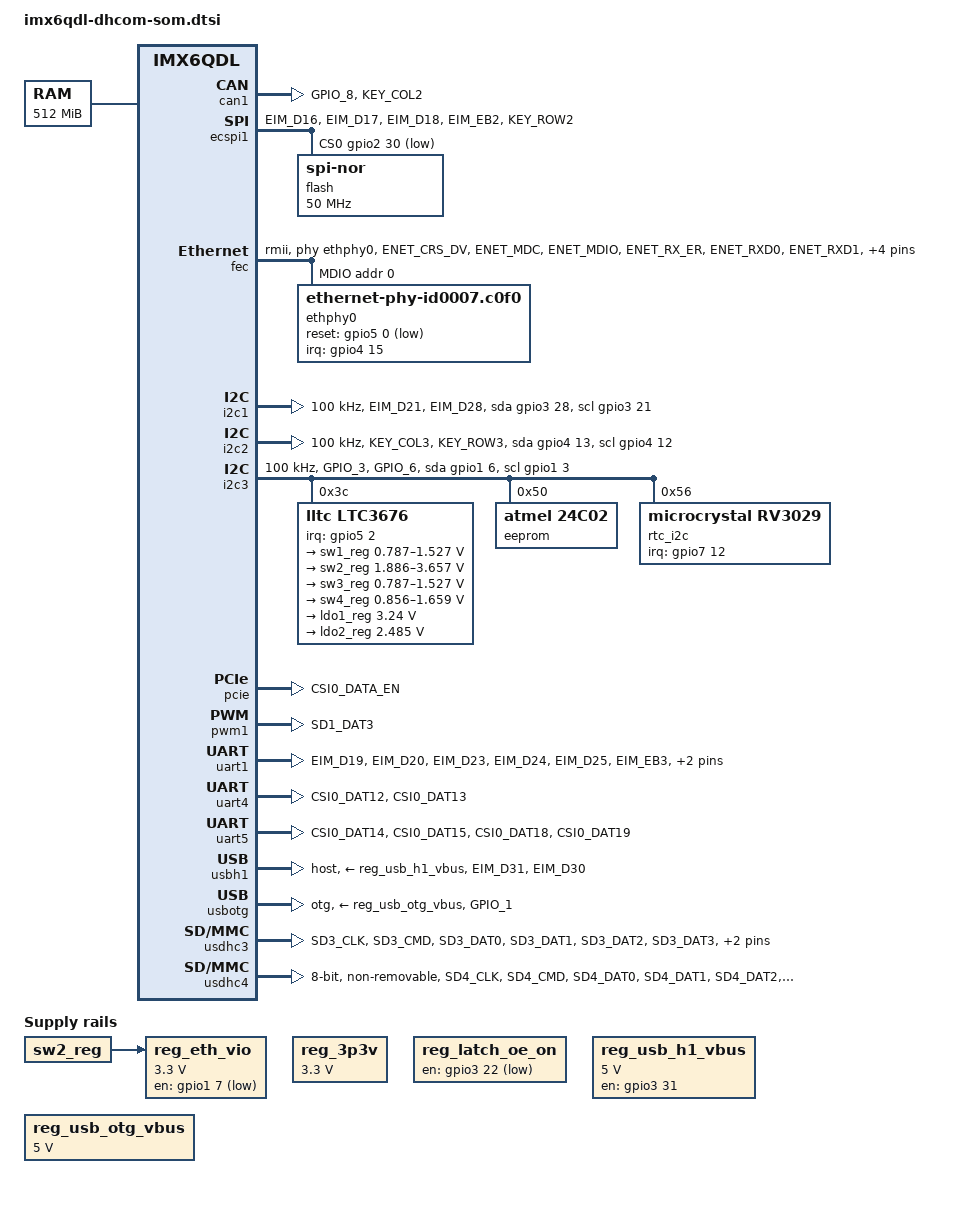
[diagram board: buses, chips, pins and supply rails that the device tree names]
// SPDX-License-Identifier: GPL-2.0+
/*
 * Copyright (C) 2015-2021 DH electronics GmbH
 * Copyright (C) 2018 Marek Vasut <marex@denx.de>
 */

#include <dt-bindings/pwm/pwm.h>
#include <dt-bindings/gpio/gpio.h>
#include <dt-bindings/clock/imx6qdl-clock.h>
#include <dt-bindings/input/input.h>

/ {
	aliases {
		i2c0 = &i2c2;
		i2c1 = &i2c1;
		i2c2 = &i2c3;
		mmc0 = &usdhc2;
		mmc1 = &usdhc3;
		mmc2 = &usdhc4;
		mmc3 = &usdhc1;
		rtc0 = &rtc_i2c;
		rtc1 = &snvs_rtc;
		serial0 = &uart1;
		serial1 = &uart5;
		serial2 = &uart4;
		serial3 = &uart2;
		serial4 = &uart3;
	};

	memory@10000000 { /* Appropriate memory size will be filled by U-Boot */
		device_type = "memory";
		reg = <0x10000000 0x20000000>;
	};

	reg_3p3v: regulator-3P3V {
		compatible = "regulator-fixed";
		regulator-always-on;
		regulator-min-microvolt = <3300000>;
		regulator-max-microvolt = <3300000>;
		regulator-name = "3P3V";
	};

	reg_eth_vio: regulator-eth-vio {
		compatible = "regulator-fixed";
		gpio = <&gpio1 7 0>;
		pinctrl-0 = <&pinctrl_enet_vio>;
		pinctrl-names = "default";
		regulator-always-on;
		regulator-boot-on;
		regulator-min-microvolt = <3300000>;
		regulator-max-microvolt = <3300000>;
		regulator-name = "eth_vio";
		vin-supply = <&sw2_reg>;
	};

	/* OE pin of the latch is low active */
	reg_latch_oe_on: regulator-latch-oe-on {
		compatible = "regulator-fixed";
		gpio = <&gpio3 22 0>;
		regulator-always-on;
		regulator-name = "latch_oe_on";
	};

	reg_usb_h1_vbus: regulator-usb-h1-vbus {
		compatible = "regulator-fixed";
		enable-active-high;
		gpio = <&gpio3 31 0>;
		regulator-min-microvolt = <5000000>;
		regulator-max-microvolt = <5000000>;
		regulator-name = "usb_h1_vbus";
	};

	reg_usb_otg_vbus: regulator-usb-otg-vbus {
		compatible = "regulator-fixed";
		regulator-min-microvolt = <5000000>;
		regulator-max-microvolt = <5000000>;
		regulator-name = "usb_otg_vbus";
	};
};

&can1 {
	pinctrl-0 = <&pinctrl_flexcan1>;
	pinctrl-names = "default";
	status = "okay";
};

/*
 * Special SoM hardware required which uses the pins from micro SD card. The
 * pins SD3_DAT0 and SD3_DAT1 are muxed as can2 Tx and Rx. The signals for can2
 * Tx and Rx are routed to the DHCOM UART1 rts/cts pins. So to enable can2 on
 * the board device tree file, the micro SD card must be disabled and the uart1
 * rts/cts must be disabled or output on other DHCOM pins.
 */
&can2 {
	pinctrl-0 = <&pinctrl_flexcan2>;
	pinctrl-names = "default";
	status = "disabled";
};

&ecspi1 {
	cs-gpios = <&gpio2 30 GPIO_ACTIVE_LOW>, <&gpio4 11 GPIO_ACTIVE_LOW>;
	pinctrl-0 = <&pinctrl_ecspi1>;
	pinctrl-names = "default";
	status = "okay";

	flash@0 { /* S25FL116K */
		#address-cells = <1>;
		#size-cells = <1>;
		compatible = "jedec,spi-nor";
		m25p,fast-read;
		reg = <0>;
		spi-max-frequency = <50000000>;
	};
};

&ecspi2 {
	cs-gpios = <&gpio5 29 GPIO_ACTIVE_LOW>;
	pinctrl-0 = <&pinctrl_ecspi2>;
	pinctrl-names = "default";
	status = "disabled";
};

&fec {
	phy-mode = "rmii";
	phy-handle = <&ethphy0>;
	pinctrl-0 = <&pinctrl_enet_100M>;
	pinctrl-names = "default";
	status = "okay";

	mdio {
		#address-cells = <1>;
		#size-cells = <0>;

		ethphy0: ethernet-phy@0 { /* SMSC LAN8710Ai */
			compatible = "ethernet-phy-id0007.c0f0",
				     "ethernet-phy-ieee802.3-c22";
			interrupt-parent = <&gpio4>;
			interrupts = <15 IRQ_TYPE_LEVEL_LOW>;
			pinctrl-0 = <&pinctrl_ethphy0>;
			pinctrl-names = "default";
			reg = <0>;
			reset-assert-us = <500>;
			reset-deassert-us = <500>;
			reset-gpios = <&gpio5 0 GPIO_ACTIVE_LOW>;
			smsc,disable-energy-detect; /* Make plugin detection reliable */
		};
	};
};

&gpio1 {
	gpio-line-names =
		"", "", "DHCOM-A", "", "DHCOM-B", "DHCOM-C", "", "",
		"", "", "", "", "", "", "", "",
		"DHCOM-R", "DHCOM-S", "DHCOM-Q", "DHCOM-T", "DHCOM-U", "", "", "",
		"", "", "", "", "", "", "", "";
};

&gpio2 {
	gpio-line-names =
		"", "", "", "", "", "", "", "",
		"", "", "", "", "", "", "", "",
		"SOM-HW2", "", "", "SOM-HW0", "", "SOM-MEM1", "SOM-MEM0", "",
		"", "", "", "", "", "", "", "";
};

&gpio3 {
	gpio-line-names =
		"", "", "", "", "", "", "", "",
		"", "", "", "", "", "", "", "",
		"", "", "", "", "", "", "", "",
		"", "", "", "DHCOM-G", "", "", "", "";
};

&gpio4 {
	gpio-line-names =
		"", "", "", "", "", "DHCOM-E", "DHCOM-INT", "DHCOM-H",
		"DHCOM-I", "DHCOM-L", "", "", "", "", "", "",
		"", "", "", "", "DHCOM-F", "", "", "",
		"", "", "", "", "", "", "", "";
};

&gpio5 {
	gpio-line-names =
		"", "", "", "", "", "", "", "",
		"", "", "", "", "", "", "", "",
		"", "", "DHCOM-V", "DHCOM-W", "", "DHCOM-O", "", "",
		"", "", "", "", "", "", "", "";
};

&gpio6 {
	gpio-line-names =
		"", "", "", "DHCOM-D", "", "", "SOM-HW1", "",
		"", "", "", "", "", "", "DHCOM-J", "DHCOM-K",
		"", "", "", "", "", "", "", "",
		"", "", "", "", "", "", "", "";
};

&gpio7 {
	gpio-line-names =
		"DHCOM-M", "DHCOM-N", "", "", "", "", "", "",
		"", "", "", "", "", "DHCOM-P", "", "",
		"", "", "", "", "", "", "", "",
		"", "", "", "", "", "", "", "";
};

&i2c1 {
	/*
	 * Info: According to erratum ERR007805 clock frequency limit is 375000.
	 * The erratum for i.MX6S/DL is here [1] and for i.MX6Q/D is here [2].
	 * [1] https://www.nxp.com/docs/en/errata/IMX6SDLCE.pdf
	 * [2] https://www.nxp.com/docs/en/errata/IMX6DQCE.pdf
	 */
	clock-frequency = <100000>;
	pinctrl-0 = <&pinctrl_i2c1>;
	pinctrl-1 = <&pinctrl_i2c1_gpio>;
	pinctrl-names = "default", "gpio";
	scl-gpios = <&gpio3 21 (GPIO_ACTIVE_HIGH | GPIO_OPEN_DRAIN)>;
	sda-gpios = <&gpio3 28 (GPIO_ACTIVE_HIGH | GPIO_OPEN_DRAIN)>;
	status = "okay";
};

&i2c2 {
	/* Info: Clock frequency limit is 375000 (for details see i2c1) */
	clock-frequency = <100000>;
	pinctrl-0 = <&pinctrl_i2c2>;
	pinctrl-1 = <&pinctrl_i2c2_gpio>;
	pinctrl-names = "default", "gpio";
	scl-gpios = <&gpio4 12 (GPIO_ACTIVE_HIGH | GPIO_OPEN_DRAIN)>;
	sda-gpios = <&gpio4 13 (GPIO_ACTIVE_HIGH | GPIO_OPEN_DRAIN)>;
	status = "okay";
};

&i2c3 {
	/* Info: Clock frequency limit is 375000 (for details see i2c1) */
	clock-frequency = <100000>;
	pinctrl-0 = <&pinctrl_i2c3>;
	pinctrl-1 = <&pinctrl_i2c3_gpio>;
	pinctrl-names = "default", "gpio";
	scl-gpios = <&gpio1 3 (GPIO_ACTIVE_HIGH | GPIO_OPEN_DRAIN)>;
	sda-gpios = <&gpio1 6 (GPIO_ACTIVE_HIGH | GPIO_OPEN_DRAIN)>;
	status = "okay";

	ltc3676: pmic@3c {
		compatible = "lltc,ltc3676";
		interrupt-parent = <&gpio5>;
		interrupts = <2 IRQ_TYPE_EDGE_FALLING>;
		pinctrl-0 = <&pinctrl_pmic>;
		pinctrl-names = "default";
		reg = <0x3c>;

		regulators {
			sw1_reg: sw1 {
				lltc,fb-voltage-divider = <100000 110000>;
				regulator-always-on;
				regulator-boot-on;
				regulator-max-microvolt = <1527272>;
				regulator-min-microvolt = <787500>;
				regulator-ramp-delay = <7000>;
			};

			sw2_reg: sw2 {
				lltc,fb-voltage-divider = <100000 28000>;
				regulator-always-on;
				regulator-boot-on;
				regulator-max-microvolt = <3657142>;
				regulator-min-microvolt = <1885714>;
				regulator-ramp-delay = <7000>;
			};

			sw3_reg: sw3 {
				lltc,fb-voltage-divider = <100000 110000>;
				regulator-always-on;
				regulator-boot-on;
				regulator-max-microvolt = <1527272>;
				regulator-min-microvolt = <787500>;
				regulator-ramp-delay = <7000>;
			};

			sw4_reg: sw4 {
				lltc,fb-voltage-divider = <100000 93100>;
				regulator-always-on;
				regulator-boot-on;
				regulator-max-microvolt = <1659291>;
				regulator-min-microvolt = <855571>;
				regulator-ramp-delay = <7000>;
			};

			ldo1_reg: ldo1 {
				lltc,fb-voltage-divider = <102000 29400>;
				regulator-always-on;
				regulator-boot-on;
				regulator-max-microvolt = <3240306>;
				regulator-min-microvolt = <3240306>;
			};

			ldo2_reg: ldo2 {
				lltc,fb-voltage-divider = <100000 41200>;
				regulator-always-on;
				regulator-boot-on;
				regulator-max-microvolt = <2484708>;
				regulator-min-microvolt = <2484708>;
			};
		};
	};

	touchscreen@49 { /* TSC2004 */
		compatible = "ti,tsc2004";
		interrupts-extended = <&gpio4 14 IRQ_TYPE_EDGE_FALLING>;
		pinctrl-0 = <&pinctrl_tsc2004>;
		pinctrl-names = "default";
		reg = <0x49>;
		vio-supply = <&reg_3p3v>;
		status = "disabled";
	};

	eeprom@50 {
		compatible = "atmel,24c02";
		pagesize = <16>;
		reg = <0x50>;
	};

	rtc_i2c: rtc@56 {
		compatible = "microcrystal,rv3029";
		interrupt-parent = <&gpio7>;
		interrupts = <12 IRQ_TYPE_EDGE_FALLING>;
		pinctrl-0 = <&pinctrl_rtc>;
		pinctrl-names = "default";
		reg = <0x56>;
	};
};

&pcie {
	pinctrl-0 = <&pinctrl_pcie>;
	pinctrl-names = "default";
};

&pwm1 {
	pinctrl-0 = <&pinctrl_pwm1>;
	pinctrl-names = "default";
};

&reg_arm {
	vin-supply = <&sw3_reg>;
};

&reg_pu {
	vin-supply = <&sw1_reg>;
};

&reg_soc {
	vin-supply = <&sw1_reg>;
};

&reg_vdd1p1 {
	vin-supply = <&sw2_reg>;
};

&reg_vdd2p5 {
	vin-supply = <&sw2_reg>;
};

&uart1 { /* DHCOM UART1 */
	dcd-gpios = <&gpio3 23 GPIO_ACTIVE_LOW>;
	dsr-gpios = <&gpio3 25 GPIO_ACTIVE_LOW>;
	dtr-gpios = <&gpio3 24 GPIO_ACTIVE_LOW>;
	rng-gpios = <&gpio2 31 GPIO_ACTIVE_LOW>;
	pinctrl-0 = <&pinctrl_uart1>;
	pinctrl-names = "default";
	uart-has-rtscts;
	status = "okay";
};

&uart4 { /* DHCOM UART3 */
	pinctrl-0 = <&pinctrl_uart4>;
	pinctrl-names = "default";
	status = "okay";
};

&uart5 { /* DHCOM UART2 */
	pinctrl-0 = <&pinctrl_uart5>;
	pinctrl-names = "default";
	uart-has-rtscts;
	status = "okay";
};

&usbh1 {
	dr_mode = "host";
	pinctrl-0 = <&pinctrl_usbh1>;
	pinctrl-names = "default";
	vbus-supply = <&reg_usb_h1_vbus>;
	status = "okay";
};

&usbotg {
	disable-over-current;
	dr_mode = "otg";
	pinctrl-0 = <&pinctrl_usbotg>;
	pinctrl-names = "default";
	vbus-supply = <&reg_usb_otg_vbus>;
	status = "okay";
};

&usdhc2 { /* External SD card via DHCOM */
	cd-gpios = <&gpio6 16 GPIO_ACTIVE_HIGH>;
	keep-power-in-suspend;
	pinctrl-0 = <&pinctrl_usdhc2>;
	pinctrl-names = "default";
	status = "disabled";
};

&usdhc3 { /* Micro SD card on module */
	cd-gpios = <&gpio7 8 GPIO_ACTIVE_LOW>;
	fsl,wp-controller;
	keep-power-in-suspend;
	pinctrl-0 = <&pinctrl_usdhc3>;
	pinctrl-names = "default";
	status = "okay";
};

&usdhc4 { /* eMMC on module */
	bus-width = <8>;
	keep-power-in-suspend;
	no-1-8-v;
	non-removable;
	pinctrl-0 = <&pinctrl_usdhc4>;
	pinctrl-names = "default";
	status = "okay";
};

&weim {
	#address-cells = <2>;
	#size-cells = <1>;
	fsl,weim-cs-gpr = <&gpr>;
	pinctrl-0 = <&pinctrl_weim &pinctrl_weim_cs0 &pinctrl_weim_cs1>;
	pinctrl-names = "default";
	/* It is necessary to setup 2x 64MB otherwise setting gpr fails */
	ranges = <0 0 0x08000000 0x04000000>, /* CS0 */
		 <1 0 0x0c000000 0x04000000>; /* CS1 */
	status = "disabled";
};

&iomuxc {
	pinctrl-0 = <
			&pinctrl_hog_base
			&pinctrl_dhcom_a &pinctrl_dhcom_b &pinctrl_dhcom_c
			&pinctrl_dhcom_d &pinctrl_dhcom_e &pinctrl_dhcom_f
			&pinctrl_dhcom_g &pinctrl_dhcom_h &pinctrl_dhcom_i
			&pinctrl_dhcom_j &pinctrl_dhcom_k &pinctrl_dhcom_l
			&pinctrl_dhcom_m &pinctrl_dhcom_n &pinctrl_dhcom_o
			&pinctrl_dhcom_p &pinctrl_dhcom_q &pinctrl_dhcom_r
			&pinctrl_dhcom_s &pinctrl_dhcom_t &pinctrl_dhcom_u
			&pinctrl_dhcom_v &pinctrl_dhcom_w &pinctrl_dhcom_int
		>;
	pinctrl-names = "default";

	pinctrl_hog_base: hog-base-grp {
		fsl,pins = <
			/* GPIOs for memory coding */
			MX6QDL_PAD_EIM_A16__GPIO2_IO22		0x120b0
			MX6QDL_PAD_EIM_A17__GPIO2_IO21		0x120b0
			/* GPIOs for hardware coding */
			MX6QDL_PAD_EIM_A19__GPIO2_IO19		0x120b0
			MX6QDL_PAD_EIM_A22__GPIO2_IO16		0x120b0
			MX6QDL_PAD_EIM_A23__GPIO6_IO06		0x120b0
		>;
	};

	/* DHCOM GPIOs */
	pinctrl_dhcom_a: dhcom-a-grp {
		fsl,pins = <MX6QDL_PAD_GPIO_2__GPIO1_IO02	0x400120b0>;
	};

	pinctrl_dhcom_b: dhcom-b-grp {
		fsl,pins = <MX6QDL_PAD_GPIO_4__GPIO1_IO04	0x400120b0>;
	};

	pinctrl_dhcom_c: dhcom-c-grp {
		fsl,pins = <MX6QDL_PAD_GPIO_5__GPIO1_IO05	0x400120b0>;
	};

	pinctrl_dhcom_d: dhcom-d-grp {
		fsl,pins = <MX6QDL_PAD_CSI0_DAT17__GPIO6_IO03	0x400120b0>;
	};

	pinctrl_dhcom_e: dhcom-e-grp {
		fsl,pins = <MX6QDL_PAD_GPIO_19__GPIO4_IO05	0x400120b0>;
	};

	pinctrl_dhcom_f: dhcom-f-grp {
		fsl,pins = <MX6QDL_PAD_DI0_PIN4__GPIO4_IO20	0x400120b0>;
	};

	pinctrl_dhcom_g: dhcom-g-grp {
		fsl,pins = <MX6QDL_PAD_EIM_D27__GPIO3_IO27	0x400120b0>;
	};

	pinctrl_dhcom_h: dhcom-h-grp {
		fsl,pins = <MX6QDL_PAD_KEY_ROW0__GPIO4_IO07	0x400120b0>;
	};

	pinctrl_dhcom_i: dhcom-i-grp {
		fsl,pins = <MX6QDL_PAD_KEY_COL1__GPIO4_IO08	0x400120b0>;
	};

	pinctrl_dhcom_j: dhcom-j-grp {
		fsl,pins = <MX6QDL_PAD_NANDF_CS1__GPIO6_IO14	0x400120b0>;
	};

	pinctrl_dhcom_k: dhcom-k-grp {
		fsl,pins = <MX6QDL_PAD_NANDF_CS2__GPIO6_IO15	0x400120b0>;
	};

	pinctrl_dhcom_l: dhcom-l-grp {
		fsl,pins = <MX6QDL_PAD_KEY_ROW1__GPIO4_IO09	0x400120b0>;
	};

	pinctrl_dhcom_m: dhcom-m-grp {
		fsl,pins = <MX6QDL_PAD_SD3_DAT5__GPIO7_IO00	0x400120b0>;
	};

	pinctrl_dhcom_n: dhcom-n-grp {
		fsl,pins = <MX6QDL_PAD_SD3_DAT4__GPIO7_IO01	0x400120b0>;
	};

	pinctrl_dhcom_o: dhcom-o-grp {
		fsl,pins = <MX6QDL_PAD_CSI0_VSYNC__GPIO5_IO21	0x400120b0>;
	};

	pinctrl_dhcom_p: dhcom-p-grp {
		fsl,pins = <MX6QDL_PAD_GPIO_18__GPIO7_IO13	0x400120b0>;
	};

	pinctrl_dhcom_q: dhcom-q-grp {
		fsl,pins = <MX6QDL_PAD_SD1_CMD__GPIO1_IO18	0x400120b0>;
	};

	pinctrl_dhcom_r: dhcom-r-grp {
		fsl,pins = <MX6QDL_PAD_SD1_DAT0__GPIO1_IO16	0x400120b0>;
	};

	pinctrl_dhcom_s: dhcom-s-grp {
		fsl,pins = <MX6QDL_PAD_SD1_DAT1__GPIO1_IO17	0x400120b0>;
	};

	pinctrl_dhcom_t: dhcom-t-grp {
		fsl,pins = <MX6QDL_PAD_SD1_DAT2__GPIO1_IO19	0x400120b0>;
	};

	pinctrl_dhcom_u: dhcom-u-grp {
		fsl,pins = <MX6QDL_PAD_SD1_CLK__GPIO1_IO20	0x400120b0>;
	};

	pinctrl_dhcom_v: dhcom-v-grp {
		fsl,pins = <MX6QDL_PAD_CSI0_PIXCLK__GPIO5_IO18	0x400120b0>;
	};

	pinctrl_dhcom_w: dhcom-w-grp {
		fsl,pins = <MX6QDL_PAD_CSI0_MCLK__GPIO5_IO19	0x400120b0>;
	};

	pinctrl_dhcom_int: dhcom-int-grp {
		fsl,pins = <MX6QDL_PAD_KEY_COL0__GPIO4_IO06	0x400120b0>;
	};

	pinctrl_ecspi1: ecspi1-grp {
		fsl,pins = <
			MX6QDL_PAD_EIM_D16__ECSPI1_SCLK		0x100b1
			MX6QDL_PAD_EIM_D17__ECSPI1_MISO		0x100b1
			MX6QDL_PAD_EIM_D18__ECSPI1_MOSI		0x100b1
			MX6QDL_PAD_EIM_EB2__GPIO2_IO30		0x1b0b0
			MX6QDL_PAD_KEY_ROW2__GPIO4_IO11		0x1b0b0
		>;
	};

	pinctrl_ecspi2: ecspi2-grp {
		fsl,pins = <
			MX6QDL_PAD_CSI0_DAT8__ECSPI2_SCLK	0x100b1
			MX6QDL_PAD_CSI0_DAT9__ECSPI2_MOSI	0x100b1
			MX6QDL_PAD_CSI0_DAT10__ECSPI2_MISO	0x100b1
			MX6QDL_PAD_CSI0_DAT11__GPIO5_IO29	0x1b0b0
		>;
	};

	pinctrl_enet_100M: enet-100M-grp {
		fsl,pins = <
			MX6QDL_PAD_ENET_CRS_DV__ENET_RX_EN	0x1b0b0
			MX6QDL_PAD_ENET_MDC__ENET_MDC		0x1b0b0
			MX6QDL_PAD_ENET_MDIO__ENET_MDIO		0x1b0b0
			MX6QDL_PAD_ENET_RX_ER__ENET_RX_ER	0x1b0b0
			MX6QDL_PAD_ENET_RXD0__ENET_RX_DATA0	0x1b0b0
			MX6QDL_PAD_ENET_RXD1__ENET_RX_DATA1	0x1b0b0
			MX6QDL_PAD_ENET_TX_EN__ENET_TX_EN	0x1b0b0
			MX6QDL_PAD_ENET_TXD0__ENET_TX_DATA0	0x1b0b0
			MX6QDL_PAD_ENET_TXD1__ENET_TX_DATA1	0x1b0b0
			MX6QDL_PAD_GPIO_16__ENET_REF_CLK	0x4001b0a8
		>;
	};

	pinctrl_enet_vio: enet-vio-grp {
		fsl,pins = <
			MX6QDL_PAD_GPIO_7__GPIO1_IO07		0x120b0
		>;
	};

	pinctrl_ethphy0: ethphy0-grp {
		fsl,pins = <
			MX6QDL_PAD_EIM_WAIT__GPIO5_IO00		0xb0 /* Reset */
			MX6QDL_PAD_KEY_ROW4__GPIO4_IO15		0xb1 /* Int */
		>;
	};

	pinctrl_flexcan1: flexcan1-grp {
		fsl,pins = <
			MX6QDL_PAD_GPIO_8__FLEXCAN1_RX		0x1b0b0
			MX6QDL_PAD_KEY_COL2__FLEXCAN1_TX	0x1b0b0
		>;
	};

	pinctrl_flexcan2: flexcan2-grp {
		fsl,pins = <
			MX6QDL_PAD_SD3_DAT0__FLEXCAN2_TX	0x1b0b0
			MX6QDL_PAD_SD3_DAT1__FLEXCAN2_RX	0x1b0b0
		>;
	};

	pinctrl_i2c1: i2c1-grp {
		fsl,pins = <
			MX6QDL_PAD_EIM_D21__I2C1_SCL		0x4001b8b1
			MX6QDL_PAD_EIM_D28__I2C1_SDA		0x4001b8b1
		>;
	};

	pinctrl_i2c1_gpio: i2c1-gpio-grp {
		fsl,pins = <
			MX6QDL_PAD_EIM_D21__GPIO3_IO21		0x4001b8b1
			MX6QDL_PAD_EIM_D28__GPIO3_IO28		0x4001b8b1
		>;
	};

	pinctrl_i2c2: i2c2-grp {
		fsl,pins = <
			MX6QDL_PAD_KEY_COL3__I2C2_SCL		0x4001b8b1
			MX6QDL_PAD_KEY_ROW3__I2C2_SDA		0x4001b8b1
		>;
	};

	pinctrl_i2c2_gpio: i2c2-gpio-grp {
		fsl,pins = <
			MX6QDL_PAD_KEY_COL3__GPIO4_IO12		0x4001b8b1
			MX6QDL_PAD_KEY_ROW3__GPIO4_IO13		0x4001b8b1
		>;
	};

	pinctrl_i2c3: i2c3-grp {
		fsl,pins = <
			MX6QDL_PAD_GPIO_3__I2C3_SCL		0x4001b8b1
			MX6QDL_PAD_GPIO_6__I2C3_SDA		0x4001b8b1
		>;
	};

	pinctrl_i2c3_gpio: i2c3-gpio-grp {
		fsl,pins = <
			MX6QDL_PAD_GPIO_3__GPIO1_IO03		0x4001b8b1
			MX6QDL_PAD_GPIO_6__GPIO1_IO06		0x4001b8b1
		>;
	};

	pinctrl_ipu1_lcdif: ipu1-lcdif-grp {
		fsl,pins = <
			MX6QDL_PAD_DI0_DISP_CLK__IPU1_DI0_DISP_CLK	0x38
			MX6QDL_PAD_DI0_PIN2__IPU1_DI0_PIN02		0x38
			MX6QDL_PAD_DI0_PIN3__IPU1_DI0_PIN03		0x38
			MX6QDL_PAD_DI0_PIN15__IPU1_DI0_PIN15		0x38
			MX6QDL_PAD_DISP0_DAT0__IPU1_DISP0_DATA00	0x38
			MX6QDL_PAD_DISP0_DAT1__IPU1_DISP0_DATA01	0x38
			MX6QDL_PAD_DISP0_DAT2__IPU1_DISP0_DATA02	0x38
			MX6QDL_PAD_DISP0_DAT3__IPU1_DISP0_DATA03	0x38
			MX6QDL_PAD_DISP0_DAT4__IPU1_DISP0_DATA04	0x38
			MX6QDL_PAD_DISP0_DAT5__IPU1_DISP0_DATA05	0x38
			MX6QDL_PAD_DISP0_DAT6__IPU1_DISP0_DATA06	0x38
			MX6QDL_PAD_DISP0_DAT7__IPU1_DISP0_DATA07	0x38
			MX6QDL_PAD_DISP0_DAT8__IPU1_DISP0_DATA08	0x38
			MX6QDL_PAD_DISP0_DAT9__IPU1_DISP0_DATA09	0x38
			MX6QDL_PAD_DISP0_DAT10__IPU1_DISP0_DATA10	0x38
			MX6QDL_PAD_DISP0_DAT11__IPU1_DISP0_DATA11	0x38
			MX6QDL_PAD_DISP0_DAT12__IPU1_DISP0_DATA12	0x38
			MX6QDL_PAD_DISP0_DAT13__IPU1_DISP0_DATA13	0x38
			MX6QDL_PAD_DISP0_DAT14__IPU1_DISP0_DATA14	0x38
			MX6QDL_PAD_DISP0_DAT15__IPU1_DISP0_DATA15	0x38
			MX6QDL_PAD_DISP0_DAT16__IPU1_DISP0_DATA16	0x38
			MX6QDL_PAD_DISP0_DAT17__IPU1_DISP0_DATA17	0x38
			MX6QDL_PAD_DISP0_DAT18__IPU1_DISP0_DATA18	0x38
			MX6QDL_PAD_DISP0_DAT19__IPU1_DISP0_DATA19	0x38
			MX6QDL_PAD_DISP0_DAT20__IPU1_DISP0_DATA20	0x38
			MX6QDL_PAD_DISP0_DAT21__IPU1_DISP0_DATA21	0x38
			MX6QDL_PAD_DISP0_DAT22__IPU1_DISP0_DATA22	0x38
			MX6QDL_PAD_DISP0_DAT23__IPU1_DISP0_DATA23	0x38
		>;
	};

	pinctrl_pcie: pcie-grp {
		fsl,pins = <
			MX6QDL_PAD_CSI0_DATA_EN__GPIO5_IO20	0x1b0b1 /* Wake */
		>;
	};

	pinctrl_pmic: pmic-grp {
		fsl,pins = <
			MX6QDL_PAD_EIM_A25__GPIO5_IO02		0x1b0b0
		>;
	};

	pinctrl_pwm1: pwm1-grp {
		fsl,pins = <
			MX6QDL_PAD_SD1_DAT3__PWM1_OUT		0x1b0b1
		>;
	};

	pinctrl_rtc: rtc-grp {
		fsl,pins = <
			MX6QDL_PAD_GPIO_17__GPIO7_IO12		0x120b0
		>;
	};

	pinctrl_tsc2004: tsc2004-grp {
		fsl,pins = <
			MX6QDL_PAD_KEY_COL4__GPIO4_IO14		0x120b0
		>;
	};

	pinctrl_uart1: uart1-grp {
		fsl,pins = <
			MX6QDL_PAD_EIM_D19__UART1_CTS_B		0x4001b0b1
			MX6QDL_PAD_EIM_D20__UART1_RTS_B		0x1b0b1
			MX6QDL_PAD_EIM_D23__GPIO3_IO23		0x4001b0b1
			MX6QDL_PAD_EIM_D24__GPIO3_IO24		0x4001b0b1
			MX6QDL_PAD_EIM_D25__GPIO3_IO25		0x4001b0b1
			MX6QDL_PAD_EIM_EB3__GPIO2_IO31		0x4001b0b1
			MX6QDL_PAD_SD3_DAT6__UART1_RX_DATA	0x1b0b1
			MX6QDL_PAD_SD3_DAT7__UART1_TX_DATA	0x1b0b1
		>;
	};

	pinctrl_uart4: uart4-grp {
		fsl,pins = <
			MX6QDL_PAD_CSI0_DAT12__UART4_TX_DATA	0x1b0b1
			MX6QDL_PAD_CSI0_DAT13__UART4_RX_DATA	0x1b0b1
		>;
	};

	pinctrl_uart5: uart5-grp {
		fsl,pins = <
			MX6QDL_PAD_CSI0_DAT14__UART5_TX_DATA	0x1b0b1
			MX6QDL_PAD_CSI0_DAT15__UART5_RX_DATA	0x1b0b1
			MX6QDL_PAD_CSI0_DAT18__UART5_RTS_B	0x1b0b1
			MX6QDL_PAD_CSI0_DAT19__UART5_CTS_B	0x4001b0b1
		>;
	};

	pinctrl_usbh1: usbh1-grp {
		fsl,pins = <
			MX6QDL_PAD_EIM_D31__GPIO3_IO31		0x120b0
			MX6QDL_PAD_EIM_D30__USB_H1_OC		0x1b0b1
		>;
	};

	pinctrl_usbotg: usbotg-grp {
		fsl,pins = <
			MX6QDL_PAD_GPIO_1__USB_OTG_ID		0x17059
		>;
	};

	pinctrl_usdhc2: usdhc2-grp {
		fsl,pins = <
			MX6QDL_PAD_NANDF_CS3__GPIO6_IO16	0x120b0
			MX6QDL_PAD_SD2_CLK__SD2_CLK		0x10059
			MX6QDL_PAD_SD2_CMD__SD2_CMD		0x17059
			MX6QDL_PAD_SD2_DAT0__SD2_DATA0		0x17059
			MX6QDL_PAD_SD2_DAT1__SD2_DATA1		0x17059
			MX6QDL_PAD_SD2_DAT2__SD2_DATA2		0x17059
			MX6QDL_PAD_SD2_DAT3__SD2_DATA3		0x17059
		>;
	};

	pinctrl_usdhc3: usdhc3-grp {
		fsl,pins = <
			MX6QDL_PAD_SD3_CLK__SD3_CLK		0x10059
			MX6QDL_PAD_SD3_CMD__SD3_CMD		0x17059
			MX6QDL_PAD_SD3_DAT0__SD3_DATA0		0x17059
			MX6QDL_PAD_SD3_DAT1__SD3_DATA1		0x17059
			MX6QDL_PAD_SD3_DAT2__SD3_DATA2		0x17059
			MX6QDL_PAD_SD3_DAT3__SD3_DATA3		0x17059
			MX6QDL_PAD_SD3_RST__GPIO7_IO08		0x120b0
		>;
	};

	pinctrl_usdhc4: usdhc4-grp {
		fsl,pins = <
			MX6QDL_PAD_SD4_CLK__SD4_CLK		0x10059
			MX6QDL_PAD_SD4_CMD__SD4_CMD		0x17059
			MX6QDL_PAD_SD4_DAT0__SD4_DATA0		0x17059
			MX6QDL_PAD_SD4_DAT1__SD4_DATA1		0x17059
			MX6QDL_PAD_SD4_DAT2__SD4_DATA2		0x17059
			MX6QDL_PAD_SD4_DAT3__SD4_DATA3		0x17059
			MX6QDL_PAD_SD4_DAT4__SD4_DATA4		0x17059
			MX6QDL_PAD_SD4_DAT5__SD4_DATA5		0x17059
			MX6QDL_PAD_SD4_DAT6__SD4_DATA6		0x17059
			MX6QDL_PAD_SD4_DAT7__SD4_DATA7		0x17059
		>;
	};

	pinctrl_weim: weim-grp {
		fsl,pins = <
			MX6QDL_PAD_EIM_DA0__EIM_AD00		0xb0a6
			MX6QDL_PAD_EIM_DA1__EIM_AD01		0xb0a6
			MX6QDL_PAD_EIM_DA2__EIM_AD02		0xb0a6
			MX6QDL_PAD_EIM_DA3__EIM_AD03		0xb0a6
			MX6QDL_PAD_EIM_DA4__EIM_AD04		0xb0a6
			MX6QDL_PAD_EIM_DA5__EIM_AD05		0xb0a6
			MX6QDL_PAD_EIM_DA6__EIM_AD06		0xb0a6
			MX6QDL_PAD_EIM_DA7__EIM_AD07		0xb0a6
			MX6QDL_PAD_EIM_DA8__EIM_AD08		0xb0a6
			MX6QDL_PAD_EIM_DA9__EIM_AD09		0xb0a6
			MX6QDL_PAD_EIM_DA10__EIM_AD10		0xb0a6
			MX6QDL_PAD_EIM_DA11__EIM_AD11		0xb0a6
			MX6QDL_PAD_EIM_DA12__EIM_AD12		0xb0a6
			MX6QDL_PAD_EIM_DA13__EIM_AD13		0xb0a6
			MX6QDL_PAD_EIM_DA14__EIM_AD14		0xb0a6
			MX6QDL_PAD_EIM_DA15__EIM_AD15		0xb0a6
			MX6QDL_PAD_EIM_D22__GPIO3_IO22		0x130b0
			MX6QDL_PAD_EIM_LBA__EIM_LBA_B		0xb060 /* LE */
			MX6QDL_PAD_EIM_OE__EIM_OE_B		0xb0a6
			MX6QDL_PAD_EIM_RW__EIM_RW		0xb0a6 /* WE */
		>;
	};

	pinctrl_weim_cs0: weim-cs0-grp {
		fsl,pins = <
			MX6QDL_PAD_EIM_CS0__EIM_CS0_B		0xb0b1
		>;
	};

	pinctrl_weim_cs1: weim-cs1-grp {
		fsl,pins = <
			MX6QDL_PAD_EIM_CS1__EIM_CS1_B		0xb0b1
		>;
	};
};
